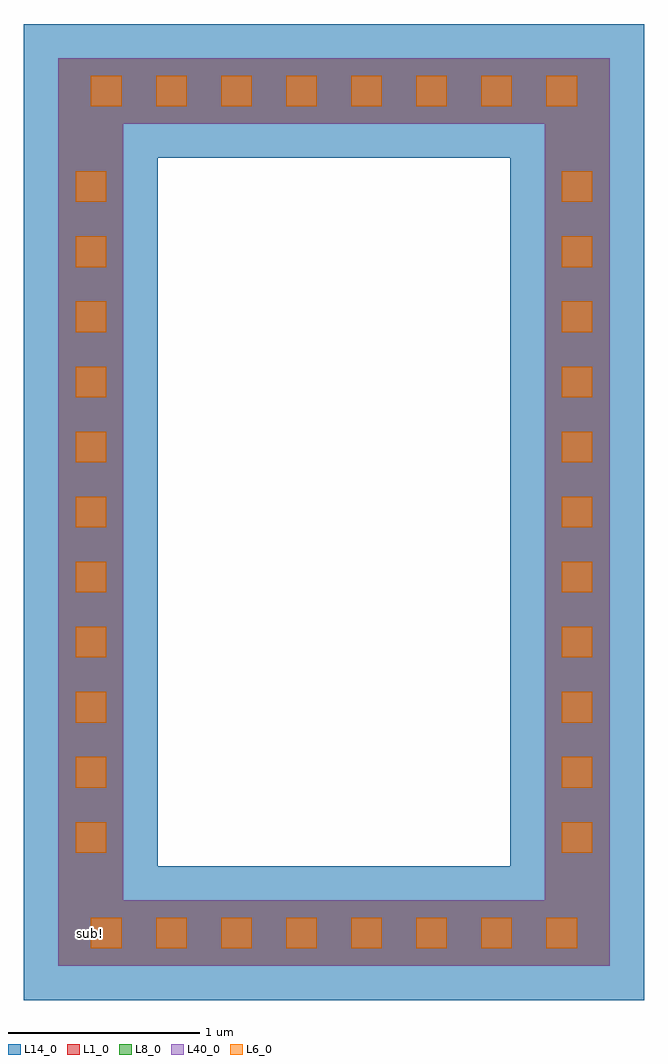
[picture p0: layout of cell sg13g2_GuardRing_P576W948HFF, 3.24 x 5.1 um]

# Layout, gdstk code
import gdstk
lib = gdstk.Library(unit=1e-6, precision=1e-09)
def R(c, l, rs):  # rectangles x0, y0, x1, y1
    for r in rs: c.add(gdstk.rectangle(r[:2], r[2:], *l))
def A(c, l, x, y, w, h, nx, ny, dx, dy):  # array of equal rectangles
    R(c, l, [(x+i*dx, y+j*dy, x+i*dx+w, y+j*dy+h) for i in range(nx) for j in range(ny)])
def P(c, l, *ps):  # polygons
    for p in ps: c.add(gdstk.Polygon(p, *l))
L1_0 = (1, 0)
L6_0 = (6, 0)
L8_0 = (8, 0)
L14_0 = (14, 0)
L40_0 = (40, 0)

sg13g2_guardring_p576w94 = lib.new_cell('sg13g2_GuardRing_P576W948HFF')
P(sg13g2_guardring_p576w94, L1_0, [(-1.44,-2.37),(-1.44,2.03),(-1.1,2.03),(-1.1,-2.03),(1.1,-2.03),(1.1,2.03),(-1.44,2.03),(-1.44,2.37),(1.44,2.37),(1.44,-2.37)])
A(sg13g2_guardring_p576w94, L6_0, -1.27, -2.28, 0.16, 0.16, 8, 2, 0.34, 4.4)
A(sg13g2_guardring_p576w94, L6_0, -1.35, -1.78, 0.16, 0.16, 1, 11, 0, 0.34)
A(sg13g2_guardring_p576w94, L6_0, 1.19, -1.78, 0.16, 0.16, 1, 11, 0, 0.34)
P(sg13g2_guardring_p576w94, L8_0, [(-1.44,-2.37),(-1.44,2.03),(-1.1,2.03),(-1.1,-2.03),(1.1,-2.03),(1.1,2.03),(-1.44,2.03),(-1.44,2.37),(1.44,2.37),(1.44,-2.37)])
P(sg13g2_guardring_p576w94, L14_0, [(-1.62,-2.55),(-1.62,1.85),(-0.92,1.85),(-0.92,-1.85),(0.92,-1.85),(0.92,1.85),(-1.62,1.85),(-1.62,2.55),(1.62,2.55),(1.62,-2.55)])
P(sg13g2_guardring_p576w94, L40_0, [(-1.44,-2.37),(-1.44,2.03),(-1.1,2.03),(-1.1,-2.03),(1.1,-2.03),(1.1,2.03),(-1.44,2.03),(-1.44,2.37),(1.44,2.37),(1.44,-2.37)])
sg13g2_guardring_p576w94.add(gdstk.Label('sub!', (-1.27,-2.2), layer=63, texttype=0))

lib.write_gds('sg13g2_GuardRing_P576W948HFF.gds')
